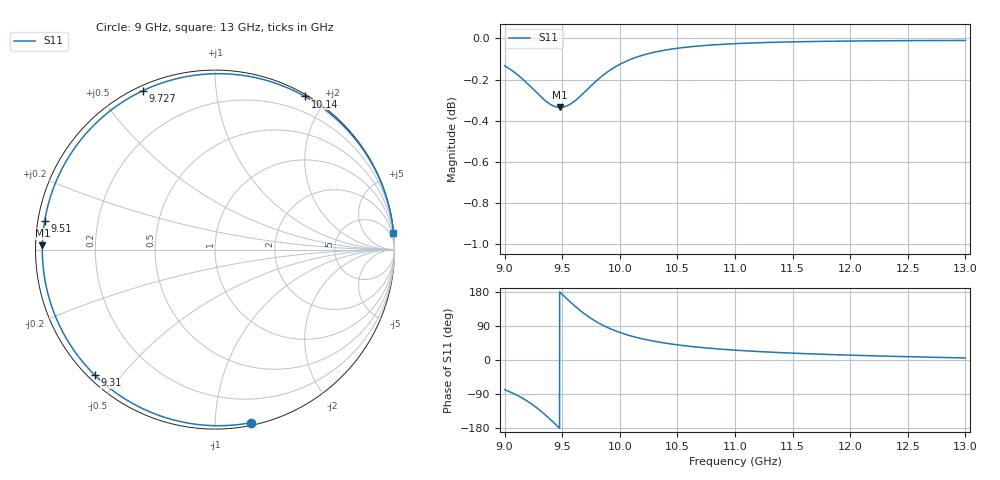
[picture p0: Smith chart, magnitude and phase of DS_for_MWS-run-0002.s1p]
! TOUCHSTONE file generated by CST DESIGN STUDIO
! Date and time: Tue Feb  4 13:45:08 2025
! Project name: C:\Work\MatlabApps\UnitCellOptimizationMatlab\CST\unitcell.cst
! Tree item: Tasks\Sweep1\SPara1\S-Parameters
! Header version: 2024
! Port assignment regex: !\s*Touchstone port\s*([0-9]+)\s*=\s*(CST MWS port|CST DES external port|CST DES block port)\s*(.+)\s* \(\"(.*)\"\)(\s*mode\s*([0-9]+))?.*
! Touchstone port assignment:
! Touchstone port 1 = CST DES external port 1 ("")
# GHz S MA R 50
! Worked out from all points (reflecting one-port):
!   4001 points, 9 GHz to 13 GHz, reference 50 ohm
!   lowest |S11| = -0.3 dB at 9.482 GHz (marker M1), VSWR 51.77, Z = 0.966 + j0.638 ohm
!   phase of S11 starts at -78 deg and turns -276 deg over the sweep
!   S11 on the Smith chart (normalised r, x): 9 GHz: 0.02, -1.23; 9.31 GHz: 0.02, -0.43; 9.51 GHz: 0.02, +0.08; 9.727 GHz: 0.02, +0.64; 10.14 GHz: 0.02, +1.75; 13 GHz: 0, +21
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9  0.9848 -78.2
9.078  0.9815 -88.5
9.176  0.9764 -104.6
9.245  0.9722 -118.5
9.31  0.9682 -133.6
9.355  0.9657 -145.3
9.403  0.9636 -158.5
9.443  0.9625 -170.0
9.482  0.9621 178.5
9.5  0.9622 173.3
9.51  0.9623 170.3
9.562  0.9636 155.4
9.622  0.9662 139.2
9.674  0.9692 126.3
9.727  0.9724 114.5
9.782  0.9757 103.7
9.843  0.979 93.3
9.92  0.9826 82.2
10  0.9856 72.7
10.145  0.9895 59.6
10.306  0.9924 49.1
10.5  0.9945 40.0
10.722  0.996 32.6
11  0.9971 26.0
11.5  0.9981 18.1
12  0.9985 12.7
12.5  0.9987 8.7
13  0.9988 5.4
